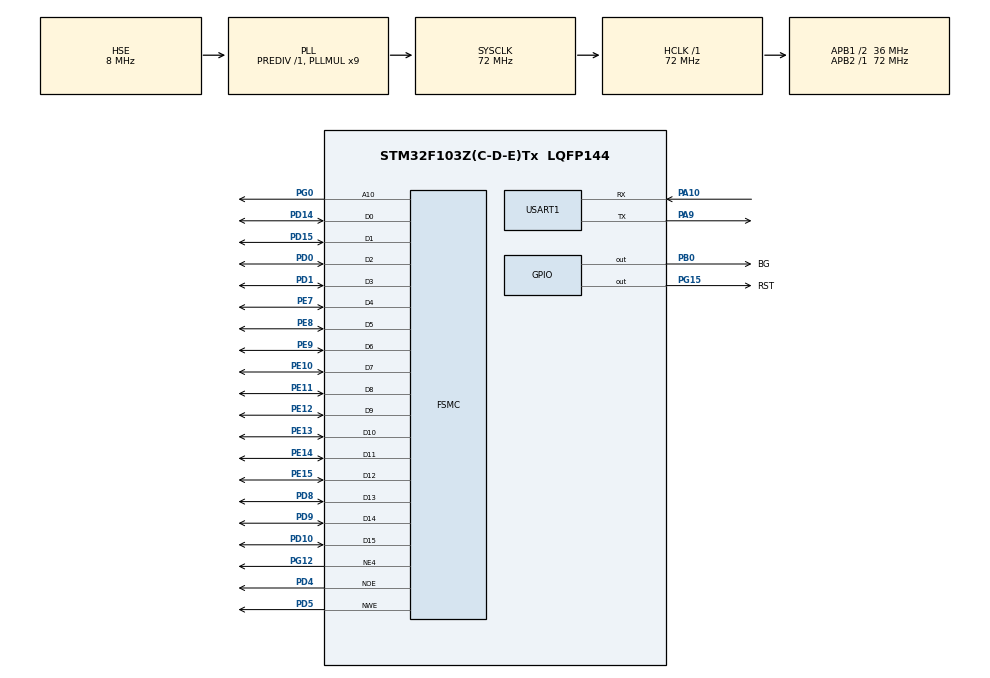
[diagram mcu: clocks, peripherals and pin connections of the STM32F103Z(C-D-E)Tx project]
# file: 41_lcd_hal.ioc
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FSMC.AddressSetupTime1=0
FSMC.BusTurnAroundDuration1=0
FSMC.DataSetupTime1=71
Mcu.Family=STM32F1
Mcu.Name=STM32F103Z(C-D-E)Tx
Mcu.Package=LQFP144
NVIC.PriorityGroup=NVIC_PRIORITYGROUP_4
OSC_IN.Mode=HSE-External-Oscillator
OSC_IN.Signal=RCC_OSC_IN
OSC_OUT.Mode=HSE-External-Oscillator
OSC_OUT.Signal=RCC_OSC_OUT
PA10.Mode=Asynchronous
PA10.Signal=USART1_RX
PA13.Mode=Serial_Wire
PA13.Signal=SYS_JTMS-SWDIO
PA14.Mode=Serial_Wire
PA14.Signal=SYS_JTCK-SWCLK
PA9.Mode=Asynchronous
PA9.Signal=USART1_TX
PB0.GPIO_Label=BG
PB0.GPIO_Speed=GPIO_SPEED_FREQ_HIGH
PB0.PinState=GPIO_PIN_RESET
PB0.Signal=GPIO_Output
PC14-OSC32_IN.Mode=LSE-External-Oscillator
PC14-OSC32_IN.Signal=RCC_OSC32_IN
PC15-OSC32_OUT.Mode=LSE-External-Oscillator
PC15-OSC32_OUT.Signal=RCC_OSC32_OUT
PD0.Signal=FSMC_D2_DA2
PD1.Signal=FSMC_D3_DA3
PD10.Signal=FSMC_D15_DA15
PD14.Signal=FSMC_D0_DA0
PD15.Signal=FSMC_D1_DA1
PD4.Signal=FSMC_NOE
PD5.Signal=FSMC_NWE
PD8.Signal=FSMC_D13_DA13
PD9.Signal=FSMC_D14_DA14
PE10.Signal=FSMC_D7_DA7
PE11.Signal=FSMC_D8_DA8
PE12.Signal=FSMC_D9_DA9
PE13.Signal=FSMC_D10_DA10
PE14.Signal=FSMC_D11_DA11
PE15.Signal=FSMC_D12_DA12
PE7.Signal=FSMC_D4_DA4
PE8.Signal=FSMC_D5_DA5
PE9.Signal=FSMC_D6_DA6
PG0.Signal=FSMC_A10
PG12.Mode=NorPsramChipSelect4_1
PG12.Signal=FSMC_NE4
PG15.GPIO_Label=RST
PG15.GPIO_Speed=GPIO_SPEED_FREQ_HIGH
PG15.PinState=GPIO_PIN_SET
PG15.Signal=GPIO_Output
ProjectManager.HeapSize=0x200
ProjectManager.StackSize=0x400
ProjectManager.TargetToolchain=MDK-ARM V5.32
RCC.AHBFreq_Value=72000000
RCC.APB1CLKDivider=RCC_HCLK_DIV2
RCC.APB1Freq_Value=36000000
RCC.APB1TimFreq_Value=72000000
RCC.APB2Freq_Value=72000000
RCC.APB2TimFreq_Value=72000000
RCC.HCLKFreq_Value=72000000
RCC.PLLMUL=RCC_PLL_MUL9
RCC.PLLSourceVirtual=RCC_PLLSOURCE_HSE
RCC.SYSCLKFreq_VALUE=72000000
RCC.SYSCLKSource=RCC_SYSCLKSOURCE_PLLCLK
RCC.USBFreq_Value=72000000
SH.FSMC_A10.0=FSMC_A10,A10_1
SH.FSMC_D0_DA0.0=FSMC_D0,16b-d1
SH.FSMC_D10_DA10.0=FSMC_D10,16b-d1
SH.FSMC_D11_DA11.0=FSMC_D11,16b-d1
SH.FSMC_D12_DA12.0=FSMC_D12,16b-d1
SH.FSMC_D13_DA13.0=FSMC_D13,16b-d1
SH.FSMC_D14_DA14.0=FSMC_D14,16b-d1
SH.FSMC_D15_DA15.0=FSMC_D15,16b-d1
SH.FSMC_D1_DA1.0=FSMC_D1,16b-d1
SH.FSMC_D2_DA2.0=FSMC_D2,16b-d1
SH.FSMC_D3_DA3.0=FSMC_D3,16b-d1
SH.FSMC_D4_DA4.0=FSMC_D4,16b-d1
SH.FSMC_D5_DA5.0=FSMC_D5,16b-d1
SH.FSMC_D6_DA6.0=FSMC_D6,16b-d1
SH.FSMC_D7_DA7.0=FSMC_D7,16b-d1
SH.FSMC_D8_DA8.0=FSMC_D8,16b-d1
SH.FSMC_D9_DA9.0=FSMC_D9,16b-d1
SH.FSMC_NOE.0=FSMC_NOE,Lcd1
SH.FSMC_NWE.0=FSMC_NWE,Lcd1
USART1.VirtualMode=VM_ASYNC
board=custom

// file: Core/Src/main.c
/* USER CODE BEGIN Header */
/**
 ******************************************************************************
 * @file           : main.c
 * @brief          : Main program body
 ******************************************************************************
 * @attention
 *
 * Copyright (c) 2024 STMicroelectronics.
 * All rights reserved.
 *
 * This software is licensed under terms that can be found in the LICENSE file
 * in the root directory of this software component.
 * If no LICENSE file comes with this software, it is provided AS-IS.
 *
 ******************************************************************************
 */
/* USER CODE END Header */
#include "main.h"
#include "usart.h"
#include "gpio.h"
#include "fsmc.h"

/* USER CODE BEGIN Includes */
#include "lcd.h"
/* USER CODE END Includes */

void SystemClock_Config(void);

int main(void)
{

  /* MCU Configuration--------------------------------------------------------*/

  /* Reset of all peripherals, Initializes the Flash interface and the Systick. */
  HAL_Init();

  /* Configure the system clock */
  SystemClock_Config();

  /* Initialize all configured peripherals */
  MX_GPIO_Init();
  MX_FSMC_Init();
  MX_USART1_UART_Init();
  /* USER CODE BEGIN 2 */
  LCD_Init();

  printf("Hello world\n");

  // 2. 读取ID
  uint32_t id = LCD_ReadID();
  printf("id = %#X\n", id);

  // 3. 清屏
  LCD_ClearAll(WHITE);

  // 4. 显示一个英文字符
  LCD_WriteAsciiChar(20, 20, 16, 'A', RED, BLUE);
  LCD_WriteAsciiChar(20, 36, 32, 'A', RED, YELLOW);
  LCD_WriteAsciiChar(20, 70, 12, 'A', RED, YELLOW);

  // 5. 显示一个字符串
  LCD_WriteAsciiString(150, 50, 32, (uint8_t *)"Hello, Atguigu!\nHow are you!", BLACK, WHITE);

  // 6. 显示一个汉字
  LCD_WriteChineseChar(30, 320, 32, 0, RED, YELLOW);
  LCD_WriteChineseChar(30, 352, 32, 1, RED, YELLOW);
  LCD_WriteChineseChar(30, 384, 32, 2, RED, YELLOW);

  // 7. 显示图片：尚硅谷logo
  LCD_DisplayAtguiguLogo(50, 200);

  // 8. 画一个点
  LCD_DrawPoint(100, 320, 3, RED);

  // 9. 画一条线
  LCD_DrawLine(20, 300, 190, 400, 3, RED);

  // 10. 画一个矩形
  LCD_DrawRectangle(20, 300, 190, 400, 3, BLUE);

  // 11. 画圆
  LCD_DrawCircle(120, 360, 50, 3, BLUE);
  LCD_DrawFilledCircle(250, 360, 50, BLUE, RED);
  /* USER CODE END 2 */

  /* Infinite loop */
  while (1)
  {

  }
}

void SystemClock_Config(void)
{
  RCC_OscInitTypeDef RCC_OscInitStruct = {0};
  RCC_ClkInitTypeDef RCC_ClkInitStruct = {0};

  /** Initializes the RCC Oscillators according to the specified parameters
  * in the RCC_OscInitTypeDef structure.
  */
  RCC_OscInitStruct.OscillatorType = RCC_OSCILLATORTYPE_HSE;
  RCC_OscInitStruct.HSEState = RCC_HSE_ON;
  RCC_OscInitStruct.HSEPredivValue = RCC_HSE_PREDIV_DIV1;
  RCC_OscInitStruct.HSIState = RCC_HSI_ON;
  RCC_OscInitStruct.PLL.PLLState = RCC_PLL_ON;
  RCC_OscInitStruct.PLL.PLLSource = RCC_PLLSOURCE_HSE;
  RCC_OscInitStruct.PLL.PLLMUL = RCC_PLL_MUL9;
  if (HAL_RCC_OscConfig(&RCC_OscInitStruct) != HAL_OK)
  {
    Error_Handler();
  }

  /** Initializes the CPU, AHB and APB buses clocks
  */
  RCC_ClkInitStruct.ClockType = RCC_CLOCKTYPE_HCLK|RCC_CLOCKTYPE_SYSCLK
                              |RCC_CLOCKTYPE_PCLK1|RCC_CLOCKTYPE_PCLK2;
  RCC_ClkInitStruct.SYSCLKSource = RCC_SYSCLKSOURCE_PLLCLK;
  RCC_ClkInitStruct.AHBCLKDivider = RCC_SYSCLK_DIV1;
  RCC_ClkInitStruct.APB1CLKDivider = RCC_HCLK_DIV2;
  RCC_ClkInitStruct.APB2CLKDivider = RCC_HCLK_DIV1;

  if (HAL_RCC_ClockConfig(&RCC_ClkInitStruct, FLASH_LATENCY_2) != HAL_OK)
  {
    Error_Handler();
  }
}

void Error_Handler(void)
{
  __disable_irq();
  while (1)
  {
  }
}
